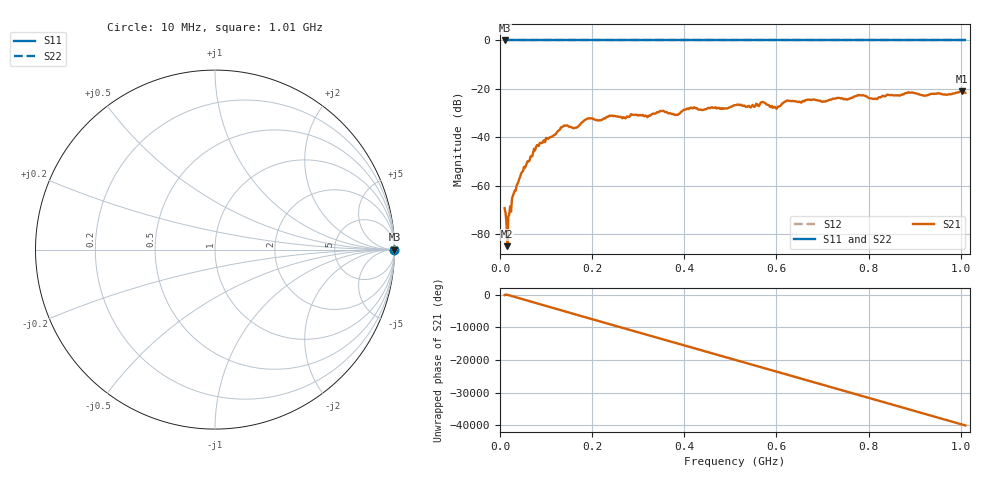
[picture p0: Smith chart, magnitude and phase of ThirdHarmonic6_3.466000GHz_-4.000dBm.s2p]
! 8/17/2025 11:14:01 AM
! C:\ANRITSUVNA\TEMP\TEMP.S2P
! CHANNEL.1
! TR.MEASUREMENT
! RAW.DATA
! RF.CORRECTION.OFF
! AVERAGING.OFF
! IF.BANDWIDTH: 5KHZ
! SWEEPTYPE:  FREQ.SWEEP(Linear)
! Reference Plane Port Info
! PORT:  PORT1  PORT2
! DISTANCE:  0  m  0  m
! TIME:  0  s  0  s
! PHASE.OFFSET:  0  deg.  0  deg.
! LOSS:  0  dB  0  dB
! REF.LOSS:  0  dB  0  dB
! REF.FREQ:  0  Hz  0  Hz
! Power Info
! POWER:  -20  dBm  -20  dBm
! EFF.POWER:  -20  dBm  -20  dBm
! SOURCE.ATTEN:  0  dB  0  dB
! TEST.ATTEN:  0  dB  0  dB
# GHZ S RI R 50.0
! FREQ.GHZ  S11RE  S11IM  S21RE  S21IM  S12RE  S12IM  S22RE  S22IM
!; PortSelection: Port_12
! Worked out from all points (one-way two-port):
!   501 points, 10 MHz to 1.01 GHz, reference 50 ohm
!   highest |S21| = -21.01 dB at 1.002 GHz (marker M1); lowest = -84.9 dB at 16 MHz (marker M2)
!   lowest |S11| = 0.0 dB at 10 MHz (marker M3)
!   |S11| at or under -10 dB: nowhere
!   |S22| runs from 0.0 to 0.0 dB; largest |S21 - S12| = 1.1
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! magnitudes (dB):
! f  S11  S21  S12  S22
! 10 MHz  0.0  -69.2  0.0  0.0
! 16 MHz  0.0  -84.9  0.0  0.0
! 20 MHz  0.0  -71.9  0.0  0.0
! 30 MHz  0.0  -63.2  0.0  0.0
! 44 MHz  0.0  -56.1  0.0  0.0
! 78 MHz  0.0  -44.1  0.0  0.0
! 136 MHz  0.0  -35.6  0.0  0.0
! 164 MHz  0.0  -36.0  0.0  0.0
! 178 MHz  0.0  -33.8  0.0  0.0
! 344 MHz  0.0  -29.7  0.0  0.0
! 384 MHz  0.0  -30.7  0.0  0.0
! 410 MHz  0.0  -28.3  0.0  0.0
! 510 MHz  0.0  -26.7  0.0  0.0
! 570 MHz  0.0  -25.4  0.0  0.0
! 596 MHz  0.0  -27.4  0.0  0.0
! 622 MHz  0.0  -24.9  0.0  0.0
! 678 MHz  0.0  -24.5  0.0  0.0
! 780 MHz  0.0  -22.6  0.0  0.0
! 814 MHz  0.0  -24.0  0.0  0.0
! 844 MHz  0.0  -22.5  0.0  0.0
! 1.002 GHz  0.0  -21.0  0.0  0.0
! 1.01 GHz  0.0  -21.6  0.0  0.0
